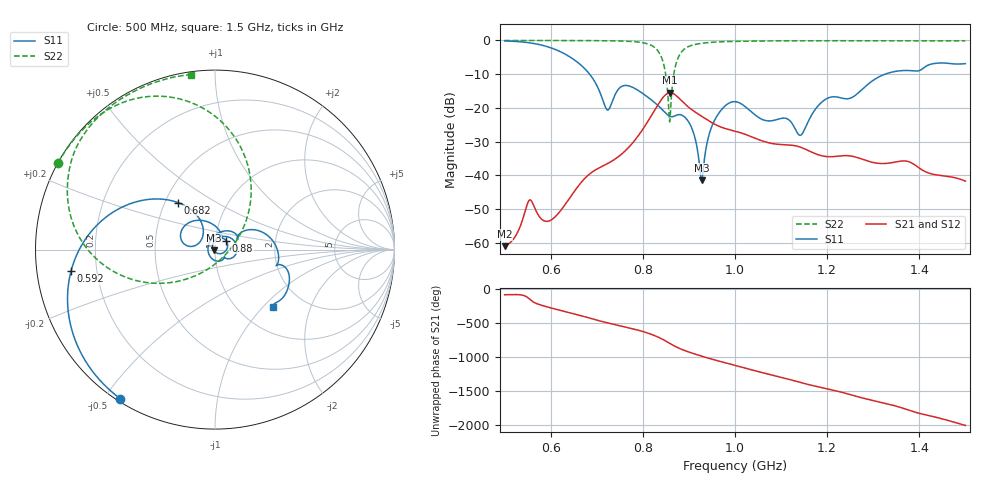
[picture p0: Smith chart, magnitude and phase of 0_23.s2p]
! TOUCHSTONE file generated by CST MICROWAVE STUDIO
! Date and time: Sat Oct 24 11:15:35 2020
! Project name: Scenario_1_Circular_Tissue_in_Line.cst
! Parameters = {L_HA=400; MT=2.54; Rad_Dielectric=30; Rad_Lower=7.3; Rad_Upper=30; a_HA=580; a_WG=246; b_HA=500; b_WG=121; c_HA=0; c_WG=187; d_feed=85; dx1=554.04; h_feed=15; h_lower=18; h_upper=40}
! Header version: 2018
! Port assignment regex: !\s*Touchstone port\s*([0-9]+)\s*=\s*(CST MWS port|CST DS port)\s*([0-9]+|Zmin|Zmax)\s*\(\"(.*)\"\)(\s*mode\s*([0-9]+))?.*
! Touchstone port assignment:
! Touchstone port 1 = CST MWS port 1 ("")
! Touchstone port 2 = CST MWS port 2 ("")
# GHz S DB R 50
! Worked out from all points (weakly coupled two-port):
!   1003 points, 500 MHz to 1.5 GHz, reference 50 ohm
!   highest |S21| = -15.48 dB at 859 MHz (marker M1); lowest = -60.9 dB at 500 MHz (marker M2)
!   lowest |S11| = -41.5 dB at 928 MHz (marker M3), VSWR 1.02, Z = 49.2 - j0.326 ohm
!   |S11| at or under -10 dB: 684.5 MHz to 1.325 GHz (640.9 MHz wide, 63.8 % of centre)
!   |S22| runs from -24.1 to 0.0 dB; largest |S21 - S12| = 8.1e-05
!   S11 on the Smith chart (normalised r, x): 500 MHz: 0.01, -0.55; 592 MHz: 0.10, -0.07; 682 MHz: 0.59, +0.34; 880 MHz: 1.13, +0.11; 1.5 GHz: 1.41, -1.14
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0.5  -0.14 -122.5  -60.94 -79.5  -60.94 -79.5  -0.01 151.1
0.526  -0.32 -134.3  -57.41 -77.2  -57.40 -77.7  -0.01 149.4
0.554  -0.71 -148.8  -47.28 -142.4  -47.43 -142.6  -0.01 147.5
0.592  -1.81 -171.4  -53.59 102.4  -53.56 102.2  -0.02 144.7
0.667  -7.47 138.2  -41.93 -29.1  -41.92 -29.1  -0.04 138.4
0.682  -9.58 128.0  -39.84 -58.4  -39.84 -58.4  -0.05 136.8
0.723  -20.59 144.6  -36.50 -132.3  -36.50 -132.3  -0.09 131.9
0.762  -13.33 147.1  -32.68 166.7  -32.68 166.7  -0.21 125.0
0.834  -19.42 75.7  -18.81 14.6  -18.81 14.6  -3.32 84.3
0.848  -21.31 64.7  -16.26 -33.9  -16.26 -33.9  -8.78 56.5
0.859  -22.51 60.3  -15.48 -77.0  -15.48 -77.0  -23.44 -71.9
0.868  -22.44 56.3  -15.90 -111.2  -15.90 -111.2  -9.35 -146.7
0.88  -21.97 38.8  -17.32 -150.5  -17.32 -150.5  -4.20 -171.3
0.907  -26.25 -22.2  -20.60 141.9  -20.60 141.9  -1.41 163.7
0.928  -41.46 -156.9  -22.50 96.5  -22.50 96.5  -0.85 154.8
0.954  -24.11 80.2  -24.68 45.2  -24.68 45.2  -0.52 148.0
1  -18.13 1.9  -26.87 -37.8  -26.87 -37.8  -0.27 140.2
1.114  -23.26 -68.8  -30.93 123.1  -30.93 123.1  -0.12 128.5
1.141  -28.11 -174.8  -31.58 72.6  -31.58 72.6  -0.10 126.3
1.167  -21.92 90.0  -33.12 27.4  -33.12 27.4  -0.09 124.2
1.334  -9.61 6.9  -36.35 110.4  -36.35 110.4  -0.08 111.5
1.5  -6.88 -44.9  -41.69 158.6  -41.69 158.6  -0.14 97.9
